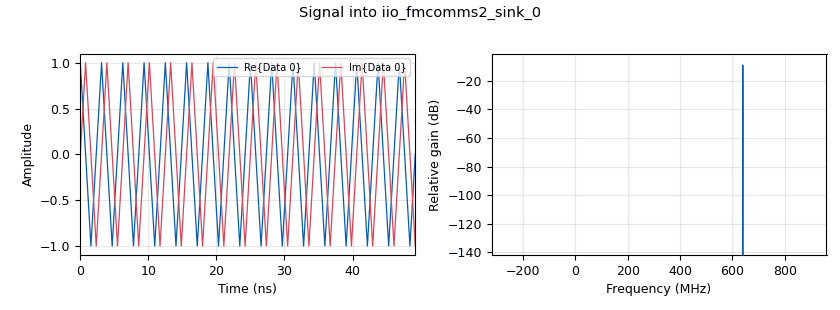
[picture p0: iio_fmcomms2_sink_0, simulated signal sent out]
options:
  parameters:
    author: jccof
    generate_options: qt_gui
    id: AD9364SimpleTest
    output_language: python
    title: Not titled yet
  states: {}

blocks:
- name: samp_rate
  id: variable
  parameters:
    value: '1280000000'
  states: {}
- name: analog_sig_source_x_0
  id: analog_sig_source_x
  parameters:
    amp: '1'
    freq: '320000000'
    offset: '0'
    phase: '0'
    samp_rate: samp_rate
    type: complex
    waveform: analog.GR_COS_WAVE
  states: {}
- name: iio_fmcomms2_sink_0
  id: iio_fmcomms2_sink
  parameters:
    attenuation1: '12.0'
    bandwidth: '20000000'
    buffer_size: '32768'
    cyclic: 'False'
    filter_source: '''Auto'''
    frequency: '320000000'
    rf_port_select: '''A'''
    samplerate: samp_rate
    tx1_en: 'True'
    tx2_en: 'False'
    type: fc32
    uri: 'local:'
  states: {}
- name: qtgui_freq_sink_x_0
  id: qtgui_freq_sink_x
  parameters:
    bw: samp_rate
    fc: '0'
    fftsize: '32768'
    type: complex
  states: {state: disabled}
- name: qtgui_time_sink_x_0
  id: qtgui_time_sink_x
  parameters:
    size: '1024'
    srate: samp_rate
    type: complex
  states: {state: disabled}

connections:
- [analog_sig_source_x_0, '0', iio_fmcomms2_sink_0, '0']
- [analog_sig_source_x_0, '0', qtgui_freq_sink_x_0, '0']
- [analog_sig_source_x_0, '0', qtgui_time_sink_x_0, '0']

metadata:
  file_format: 1
  grc_version: 3.10.10.0
